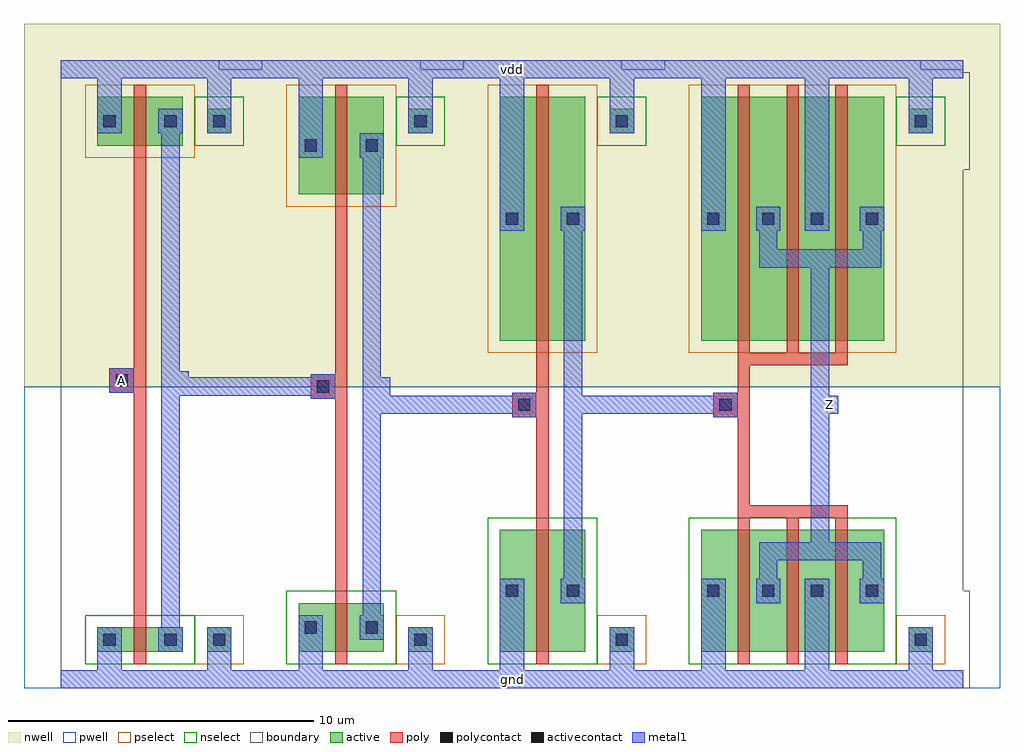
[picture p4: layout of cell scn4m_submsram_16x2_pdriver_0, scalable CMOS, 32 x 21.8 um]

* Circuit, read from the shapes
.subckt scn4m_submsram_16x2_pdriver_0 A Z gnd vdd
M1 scn4m_submsram_16x2_pinv_6_1/A A gnd gnd nfet w=0.8u l=0.4u
M2 scn4m_submsram_16x2_pinv_7_2/A scn4m_submsram_16x2_pinv_6_1/A gnd gnd nfet w=1.6u l=0.4u
M3 scn4m_submsram_16x2_pinv_8_3/A scn4m_submsram_16x2_pinv_7_2/A gnd gnd nfet w=4u l=0.4u
M4 Z scn4m_submsram_16x2_pinv_8_3/A gnd gnd nfet w=4u l=0.4u m=3
M5 scn4m_submsram_16x2_pinv_6_1/A A vdd vdd pfet w=1.6u l=0.4u
M6 scn4m_submsram_16x2_pinv_7_2/A scn4m_submsram_16x2_pinv_6_1/A vdd vdd pfet w=3.2u l=0.4u
M7 scn4m_submsram_16x2_pinv_8_3/A scn4m_submsram_16x2_pinv_7_2/A vdd vdd pfet w=8u l=0.4u
M8 Z scn4m_submsram_16x2_pinv_8_3/A vdd vdd pfet w=8u l=0.4u m=3
.ends

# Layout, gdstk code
import gdstk
lib = gdstk.Library(unit=1e-6, precision=1e-09)
def R(c, l, rs):  # rectangles x0, y0, x1, y1
    for r in rs: c.add(gdstk.rectangle(r[:2], r[2:], *l))
def A(c, l, x, y, w, h, nx, ny, dx, dy):  # array of equal rectangles
    R(c, l, [(x+i*dx, y+j*dy, x+i*dx+w, y+j*dy+h) for i in range(nx) for j in range(ny)])
pwell = (41, 0)
nwell = (42, 0)
active = (43, 0)
pselect = (44, 0)
nselect = (45, 0)
poly = (46, 0)
polycontact = (47, 0)
activecontact = (48, 0)
metal1 = (49, 0)
boundary = (63, 0)

scn4m_submsram_16x2_cont = lib.new_cell('scn4m_submsram_16x2_contact_12')
R(scn4m_submsram_16x2_cont, nwell, [(-1.2,-1.2,2,2)])
R(scn4m_submsram_16x2_cont, active, [(0,0,0.8,0.8)])
R(scn4m_submsram_16x2_cont, pselect, [(-0.4,-0.4,1.2,1.2)])
R(scn4m_submsram_16x2_cont, activecontact, [(0.2,0.2,0.6,0.6)])
R(scn4m_submsram_16x2_cont, metal1, [(0,0,0.8,0.8)])
R(scn4m_submsram_16x2_cont, boundary, [(-1.2,-1.2,2,2)])

scn4m_submsram_16x2_pmos = lib.new_cell('scn4m_submsram_16x2_pmos_m1_w1_600_sm1_dm1_da_p')
R(scn4m_submsram_16x2_pmos, nwell, [(-1.2,-1.2,4,2.8)])
R(scn4m_submsram_16x2_pmos, active, [(0,0,2.8,1.6)])
R(scn4m_submsram_16x2_pmos, pselect, [(-0.4,-0.4,3.2,2)])
R(scn4m_submsram_16x2_pmos, poly, [(1.2,-0.4,1.6,2), (1.2,-0.4,1.6,2)])
R(scn4m_submsram_16x2_pmos, metal1, [(0,0.4,0.8,1.2), (2,0.4,2.8,1.2)])
R(scn4m_submsram_16x2_pmos, boundary, [(-1.2,-1.2,4,2.8)])
scn4m_submsram_16x2_pmos.add(gdstk.Reference(scn4m_submsram_16x2_cont, (0,0.4)))
scn4m_submsram_16x2_pmos.add(gdstk.Reference(scn4m_submsram_16x2_cont, (2,0.4)))
scn4m_submsram_16x2_pmos.add(gdstk.Label('G', (1.4,0.8), layer=46, texttype=0))
scn4m_submsram_16x2_pmos.add(gdstk.Label('S', (0.4,0.8), layer=49, texttype=0))
scn4m_submsram_16x2_pmos.add(gdstk.Label('D', (2.4,0.8), layer=49, texttype=0))

c_scn4m_submsram_16x2_cont = lib.new_cell('scn4m_submsram_16x2_contact_11')
R(c_scn4m_submsram_16x2_cont, pwell, [(-1.2,-1.2,2,2)])
R(c_scn4m_submsram_16x2_cont, active, [(0,0,0.8,0.8)])
R(c_scn4m_submsram_16x2_cont, nselect, [(-0.4,-0.4,1.2,1.2)])
R(c_scn4m_submsram_16x2_cont, activecontact, [(0.2,0.2,0.6,0.6)])
R(c_scn4m_submsram_16x2_cont, metal1, [(0,0,0.8,0.8)])
R(c_scn4m_submsram_16x2_cont, boundary, [(-1.2,-1.2,2,2)])

scn4m_submsram_16x2_nmos = lib.new_cell('scn4m_submsram_16x2_nmos_m1_w0_800_sm1_dm1_da_p')
R(scn4m_submsram_16x2_nmos, pwell, [(-1.2,-1.2,4,2)])
R(scn4m_submsram_16x2_nmos, active, [(0,0,2.8,0.8)])
R(scn4m_submsram_16x2_nmos, nselect, [(-0.4,-0.4,3.2,1.2)])
R(scn4m_submsram_16x2_nmos, poly, [(1.2,-0.4,1.6,1.2), (1.2,-0.4,1.6,1.2)])
R(scn4m_submsram_16x2_nmos, metal1, [(0,0,0.8,0.8), (2,0,2.8,0.8)])
R(scn4m_submsram_16x2_nmos, boundary, [(-1.2,-1.2,4,2)])
scn4m_submsram_16x2_nmos.add(gdstk.Reference(c_scn4m_submsram_16x2_cont, (0,0)))
scn4m_submsram_16x2_nmos.add(gdstk.Reference(c_scn4m_submsram_16x2_cont, (2,0)))
scn4m_submsram_16x2_nmos.add(gdstk.Label('G', (1.4,0.4), layer=46, texttype=0))
scn4m_submsram_16x2_nmos.add(gdstk.Label('S', (0.4,0.4), layer=49, texttype=0))
scn4m_submsram_16x2_nmos.add(gdstk.Label('D', (2.4,0.4), layer=49, texttype=0))

c_scn4m_submsram_16x2_cont_ = lib.new_cell('scn4m_submsram_16x2_contact_13')
R(c_scn4m_submsram_16x2_cont_, nwell, [(-1.2,-1.2,2,2)])
R(c_scn4m_submsram_16x2_cont_, active, [(0,0,0.8,0.8)])
R(c_scn4m_submsram_16x2_cont_, nselect, [(-0.4,-0.4,1.2,1.2)])
R(c_scn4m_submsram_16x2_cont_, activecontact, [(0.2,0.2,0.6,0.6)])
R(c_scn4m_submsram_16x2_cont_, metal1, [(0,0,0.8,0.8)])
R(c_scn4m_submsram_16x2_cont_, boundary, [(-1.2,-1.2,2,2)])

c_scn4m_submsram_16x2_cont__ = lib.new_cell('scn4m_submsram_16x2_contact_14')
R(c_scn4m_submsram_16x2_cont__, pwell, [(-1.2,-1.2,2,2)])
R(c_scn4m_submsram_16x2_cont__, active, [(0,0,0.8,0.8)])
R(c_scn4m_submsram_16x2_cont__, pselect, [(-0.4,-0.4,1.2,1.2)])
R(c_scn4m_submsram_16x2_cont__, activecontact, [(0.2,0.2,0.6,0.6)])
R(c_scn4m_submsram_16x2_cont__, metal1, [(0,0,0.8,0.8)])
R(c_scn4m_submsram_16x2_cont__, boundary, [(-1.2,-1.2,2,2)])

c_scn4m_submsram_16x2_cont___ = lib.new_cell('scn4m_submsram_16x2_contact_15')
R(c_scn4m_submsram_16x2_cont___, poly, [(0,0,0.8,0.8)])
R(c_scn4m_submsram_16x2_cont___, polycontact, [(0.2,0.2,0.6,0.6)])
R(c_scn4m_submsram_16x2_cont___, metal1, [(0,0,0.8,0.8)])
R(c_scn4m_submsram_16x2_cont___, boundary, [(0,0,0.8,0.8)])

scn4m_submsram_16x2_pinv = lib.new_cell('scn4m_submsram_16x2_pinv_5')
R(scn4m_submsram_16x2_pinv, pwell, [(-1.2,-0.3,7.8,9.6)])
R(scn4m_submsram_16x2_pinv, nwell, [(-1.2,9.6,7.8,21.5)])
R(scn4m_submsram_16x2_pinv, poly, [(2.4,2.1,2.8,17.1), (2,9.4,2.4,10.2)])
R(scn4m_submsram_16x2_pinv, metal1, [(0,-0.3,6.6,0.3), (1.2,-0.3,2,0.9), (4.8,0,5.6,1.3), (3.3,0.9,3.9,18.7), (1.6,9.4,2.4,10.2), (3.6,9.5,4.2,10.1), (1.2,17.9,2,20.3), (4.8,18.3,5.6,20), (0,19.7,6.6,20.3)])
R(scn4m_submsram_16x2_pinv, boundary, [(0,0,6.6,20), (0,0,6.6,20)])
scn4m_submsram_16x2_pinv.add(gdstk.Reference(scn4m_submsram_16x2_pmos, (1.2,17.5)))
scn4m_submsram_16x2_pinv.add(gdstk.Reference(scn4m_submsram_16x2_nmos, (1.2,0.9)))
scn4m_submsram_16x2_pinv.add(gdstk.Reference(c_scn4m_submsram_16x2_cont_, (4.8,17.9)))
scn4m_submsram_16x2_pinv.add(gdstk.Reference(c_scn4m_submsram_16x2_cont__, (4.8,0.9)))
scn4m_submsram_16x2_pinv.add(gdstk.Reference(c_scn4m_submsram_16x2_cont___, (1.6,9.4)))
scn4m_submsram_16x2_pinv.add(gdstk.Label('A', (2,9.8), layer=49, texttype=0))
scn4m_submsram_16x2_pinv.add(gdstk.Label('Z', (3.9,9.8), layer=49, texttype=0))
scn4m_submsram_16x2_pinv.add(gdstk.Label('gnd', (3.3,0), layer=49, texttype=0))
scn4m_submsram_16x2_pinv.add(gdstk.Label('vdd', (3.3,20), layer=49, texttype=0))

c_scn4m_submsram_16x2_pmos = lib.new_cell('scn4m_submsram_16x2_pmos_m1_w3_200_sm1_dm1_da_p')
R(c_scn4m_submsram_16x2_pmos, nwell, [(-1.2,-1.2,4,4.4)])
R(c_scn4m_submsram_16x2_pmos, active, [(0,0,2.8,3.2)])
R(c_scn4m_submsram_16x2_pmos, pselect, [(-0.4,-0.4,3.2,3.6)])
R(c_scn4m_submsram_16x2_pmos, poly, [(1.2,-0.4,1.6,3.6), (1.2,-0.4,1.6,3.6)])
R(c_scn4m_submsram_16x2_pmos, metal1, [(0,1.2,0.8,2), (2,1.2,2.8,2)])
R(c_scn4m_submsram_16x2_pmos, boundary, [(-1.2,-1.2,4,4.4)])
c_scn4m_submsram_16x2_pmos.add(gdstk.Reference(scn4m_submsram_16x2_cont, (0,1.2)))
c_scn4m_submsram_16x2_pmos.add(gdstk.Reference(scn4m_submsram_16x2_cont, (2,1.2)))
c_scn4m_submsram_16x2_pmos.add(gdstk.Label('G', (1.4,1.6), layer=46, texttype=0))
c_scn4m_submsram_16x2_pmos.add(gdstk.Label('S', (0.4,1.6), layer=49, texttype=0))
c_scn4m_submsram_16x2_pmos.add(gdstk.Label('D', (2.4,1.6), layer=49, texttype=0))

c_scn4m_submsram_16x2_nmos = lib.new_cell('scn4m_submsram_16x2_nmos_m1_w1_600_sm1_dm1_da_p')
R(c_scn4m_submsram_16x2_nmos, pwell, [(-1.2,-1.2,4,2.8)])
R(c_scn4m_submsram_16x2_nmos, active, [(0,0,2.8,1.6)])
R(c_scn4m_submsram_16x2_nmos, nselect, [(-0.4,-0.4,3.2,2)])
R(c_scn4m_submsram_16x2_nmos, poly, [(1.2,-0.4,1.6,2), (1.2,-0.4,1.6,2)])
R(c_scn4m_submsram_16x2_nmos, metal1, [(0,0.4,0.8,1.2), (2,0.4,2.8,1.2)])
R(c_scn4m_submsram_16x2_nmos, boundary, [(-1.2,-1.2,4,2.8)])
c_scn4m_submsram_16x2_nmos.add(gdstk.Reference(c_scn4m_submsram_16x2_cont, (0,0.4)))
c_scn4m_submsram_16x2_nmos.add(gdstk.Reference(c_scn4m_submsram_16x2_cont, (2,0.4)))
c_scn4m_submsram_16x2_nmos.add(gdstk.Label('G', (1.4,0.8), layer=46, texttype=0))
c_scn4m_submsram_16x2_nmos.add(gdstk.Label('S', (0.4,0.8), layer=49, texttype=0))
c_scn4m_submsram_16x2_nmos.add(gdstk.Label('D', (2.4,0.8), layer=49, texttype=0))

c_scn4m_submsram_16x2_pinv = lib.new_cell('scn4m_submsram_16x2_pinv_6')
R(c_scn4m_submsram_16x2_pinv, pwell, [(-1.2,-0.3,7.8,9.6)])
R(c_scn4m_submsram_16x2_pinv, nwell, [(-1.2,9.6,7.8,21.5)])
R(c_scn4m_submsram_16x2_pinv, poly, [(2.4,2.9,2.8,15.5), (2,9.2,2.4,10)])
R(c_scn4m_submsram_16x2_pinv, metal1, [(0,-0.3,6.6,0.3), (1.2,-0.3,2,1.3), (4.8,0,5.6,1.3), (3.3,1.3,3.9,17.9), (1.6,9.2,2.4,10), (3.6,9.3,4.2,9.9), (1.2,17.1,2,20.3), (4.8,18.3,5.6,20), (0,19.7,6.6,20.3)])
R(c_scn4m_submsram_16x2_pinv, boundary, [(0,0,6.6,20), (0,0,6.6,20)])
c_scn4m_submsram_16x2_pinv.add(gdstk.Reference(c_scn4m_submsram_16x2_pmos, (1.2,15.9)))
c_scn4m_submsram_16x2_pinv.add(gdstk.Reference(c_scn4m_submsram_16x2_nmos, (1.2,0.9)))
c_scn4m_submsram_16x2_pinv.add(gdstk.Reference(c_scn4m_submsram_16x2_cont_, (4.8,17.9)))
c_scn4m_submsram_16x2_pinv.add(gdstk.Reference(c_scn4m_submsram_16x2_cont__, (4.8,0.9)))
c_scn4m_submsram_16x2_pinv.add(gdstk.Reference(c_scn4m_submsram_16x2_cont___, (1.6,9.2)))
c_scn4m_submsram_16x2_pinv.add(gdstk.Label('A', (2,9.6), layer=49, texttype=0))
c_scn4m_submsram_16x2_pinv.add(gdstk.Label('Z', (3.9,9.6), layer=49, texttype=0))
c_scn4m_submsram_16x2_pinv.add(gdstk.Label('gnd', (3.3,0), layer=49, texttype=0))
c_scn4m_submsram_16x2_pinv.add(gdstk.Label('vdd', (3.3,20), layer=49, texttype=0))

c_scn4m_submsram_16x2_pmos_ = lib.new_cell('scn4m_submsram_16x2_pmos_m1_w8_000_sm1_dm1_da_p')
R(c_scn4m_submsram_16x2_pmos_, nwell, [(-1.2,-1.2,4,9.2)])
R(c_scn4m_submsram_16x2_pmos_, active, [(0,0,2.8,8)])
R(c_scn4m_submsram_16x2_pmos_, pselect, [(-0.4,-0.4,3.2,8.4)])
R(c_scn4m_submsram_16x2_pmos_, poly, [(1.2,-0.4,1.6,8.4), (1.2,-0.4,1.6,8.4)])
R(c_scn4m_submsram_16x2_pmos_, metal1, [(0,3.6,0.8,4.4), (2,3.6,2.8,4.4)])
R(c_scn4m_submsram_16x2_pmos_, boundary, [(-1.2,-1.2,4,9.2)])
c_scn4m_submsram_16x2_pmos_.add(gdstk.Reference(scn4m_submsram_16x2_cont, (0,3.6)))
c_scn4m_submsram_16x2_pmos_.add(gdstk.Reference(scn4m_submsram_16x2_cont, (2,3.6)))
c_scn4m_submsram_16x2_pmos_.add(gdstk.Label('G', (1.4,4), layer=46, texttype=0))
c_scn4m_submsram_16x2_pmos_.add(gdstk.Label('S', (0.4,4), layer=49, texttype=0))
c_scn4m_submsram_16x2_pmos_.add(gdstk.Label('D', (2.4,4), layer=49, texttype=0))

c_scn4m_submsram_16x2_nmos_ = lib.new_cell('scn4m_submsram_16x2_nmos_m1_w4_000_sm1_dm1_da_p')
R(c_scn4m_submsram_16x2_nmos_, pwell, [(-1.2,-1.2,4,5.2)])
R(c_scn4m_submsram_16x2_nmos_, active, [(0,0,2.8,4)])
R(c_scn4m_submsram_16x2_nmos_, nselect, [(-0.4,-0.4,3.2,4.4)])
R(c_scn4m_submsram_16x2_nmos_, poly, [(1.2,-0.4,1.6,4.4), (1.2,-0.4,1.6,4.4)])
R(c_scn4m_submsram_16x2_nmos_, metal1, [(0,1.6,0.8,2.4), (2,1.6,2.8,2.4)])
R(c_scn4m_submsram_16x2_nmos_, boundary, [(-1.2,-1.2,4,5.2)])
c_scn4m_submsram_16x2_nmos_.add(gdstk.Reference(c_scn4m_submsram_16x2_cont, (0,1.6)))
c_scn4m_submsram_16x2_nmos_.add(gdstk.Reference(c_scn4m_submsram_16x2_cont, (2,1.6)))
c_scn4m_submsram_16x2_nmos_.add(gdstk.Label('G', (1.4,2), layer=46, texttype=0))
c_scn4m_submsram_16x2_nmos_.add(gdstk.Label('S', (0.4,2), layer=49, texttype=0))
c_scn4m_submsram_16x2_nmos_.add(gdstk.Label('D', (2.4,2), layer=49, texttype=0))

c_scn4m_submsram_16x2_pinv_ = lib.new_cell('scn4m_submsram_16x2_pinv_7')
R(c_scn4m_submsram_16x2_pinv_, pwell, [(-1.2,-0.3,7.8,9.6)])
R(c_scn4m_submsram_16x2_pinv_, nwell, [(-1.2,9.6,7.8,21.5)])
R(c_scn4m_submsram_16x2_pinv_, poly, [(2.4,5.3,2.8,10.7), (2,8.6,2.4,9.4)])
R(c_scn4m_submsram_16x2_pinv_, metal1, [(0,-0.3,6.6,0.3), (1.2,-0.3,2,2.5), (4.8,0,5.6,1.3), (3.3,2.5,3.9,15.5), (1.6,8.6,2.4,9.4), (3.6,8.7,4.2,9.3), (1.2,14.7,2,20.3), (4.8,18.3,5.6,20), (0,19.7,6.6,20.3)])
R(c_scn4m_submsram_16x2_pinv_, boundary, [(0,0,6.6,20), (0,0,6.6,20)])
c_scn4m_submsram_16x2_pinv_.add(gdstk.Reference(c_scn4m_submsram_16x2_pmos_, (1.2,11.1)))
c_scn4m_submsram_16x2_pinv_.add(gdstk.Reference(c_scn4m_submsram_16x2_nmos_, (1.2,0.9)))
c_scn4m_submsram_16x2_pinv_.add(gdstk.Reference(c_scn4m_submsram_16x2_cont_, (4.8,17.9)))
c_scn4m_submsram_16x2_pinv_.add(gdstk.Reference(c_scn4m_submsram_16x2_cont__, (4.8,0.9)))
c_scn4m_submsram_16x2_pinv_.add(gdstk.Reference(c_scn4m_submsram_16x2_cont___, (1.6,8.6)))
c_scn4m_submsram_16x2_pinv_.add(gdstk.Label('A', (2,9), layer=49, texttype=0))
c_scn4m_submsram_16x2_pinv_.add(gdstk.Label('Z', (3.9,9), layer=49, texttype=0))
c_scn4m_submsram_16x2_pinv_.add(gdstk.Label('gnd', (3.3,0), layer=49, texttype=0))
c_scn4m_submsram_16x2_pinv_.add(gdstk.Label('vdd', (3.3,20), layer=49, texttype=0))

c_scn4m_submsram_16x2_pmos__ = lib.new_cell('scn4m_submsram_16x2_pmos_m3_w8_000_sm1_dm1_da_p')
R(c_scn4m_submsram_16x2_pmos__, nwell, [(-1.2,-1.2,7.2,9.2)])
R(c_scn4m_submsram_16x2_pmos__, active, [(0,0,6,8)])
R(c_scn4m_submsram_16x2_pmos__, pselect, [(-0.4,-0.4,6.4,8.4)])
A(c_scn4m_submsram_16x2_pmos__, poly, 1.2, -0.4, 0.4, 8.8, 3, 1, 1.6, 0)
R(c_scn4m_submsram_16x2_pmos__, poly, [(1.2,-0.8,4.8,-0.4)])
R(c_scn4m_submsram_16x2_pmos__, metal1, [(1.9,2.4,5.9,3), (1.9,2.7,2.5,4), (5.3,2.7,5.9,4), (0,3.6,0.8,4.4), (3.4,3.6,4.2,4.4)])
R(c_scn4m_submsram_16x2_pmos__, boundary, [(-1.2,-1.2,7.2,9.2)])
c_scn4m_submsram_16x2_pmos__.add(gdstk.Reference(scn4m_submsram_16x2_cont, (0,3.6)))
c_scn4m_submsram_16x2_pmos__.add(gdstk.Reference(scn4m_submsram_16x2_cont, (1.8,3.6)))
c_scn4m_submsram_16x2_pmos__.add(gdstk.Reference(scn4m_submsram_16x2_cont, (3.4,3.6)))
c_scn4m_submsram_16x2_pmos__.add(gdstk.Reference(scn4m_submsram_16x2_cont, (5.2,3.6)))
c_scn4m_submsram_16x2_pmos__.add(gdstk.Label('G', (3,-0.6), layer=46, texttype=0))
c_scn4m_submsram_16x2_pmos__.add(gdstk.Label('S', (3.8,4), layer=49, texttype=0))
c_scn4m_submsram_16x2_pmos__.add(gdstk.Label('S', (0.4,4), layer=49, texttype=0))
c_scn4m_submsram_16x2_pmos__.add(gdstk.Label('D', (3.9,2.7), layer=49, texttype=0))

c_scn4m_submsram_16x2_nmos__ = lib.new_cell('scn4m_submsram_16x2_nmos_m3_w4_000_sm1_dm1_da_p')
R(c_scn4m_submsram_16x2_nmos__, pwell, [(-1.2,-1.2,7.2,5.2)])
R(c_scn4m_submsram_16x2_nmos__, active, [(0,0,6,4)])
R(c_scn4m_submsram_16x2_nmos__, nselect, [(-0.4,-0.4,6.4,4.4)])
A(c_scn4m_submsram_16x2_nmos__, poly, 1.2, -0.4, 0.4, 4.8, 3, 1, 1.6, 0)
R(c_scn4m_submsram_16x2_nmos__, poly, [(1.2,4.4,4.8,4.8)])
R(c_scn4m_submsram_16x2_nmos__, metal1, [(0,1.6,0.8,2.4), (3.4,1.6,4.2,2.4), (1.9,2,2.5,3.3), (5.3,2,5.9,3.3), (1.9,3,5.9,3.6)])
R(c_scn4m_submsram_16x2_nmos__, boundary, [(-1.2,-1.2,7.2,5.2)])
c_scn4m_submsram_16x2_nmos__.add(gdstk.Reference(c_scn4m_submsram_16x2_cont, (0,1.6)))
c_scn4m_submsram_16x2_nmos__.add(gdstk.Reference(c_scn4m_submsram_16x2_cont, (1.8,1.6)))
c_scn4m_submsram_16x2_nmos__.add(gdstk.Reference(c_scn4m_submsram_16x2_cont, (3.4,1.6)))
c_scn4m_submsram_16x2_nmos__.add(gdstk.Reference(c_scn4m_submsram_16x2_cont, (5.2,1.6)))
c_scn4m_submsram_16x2_nmos__.add(gdstk.Label('G', (3,4.6), layer=46, texttype=0))
c_scn4m_submsram_16x2_nmos__.add(gdstk.Label('S', (0.4,2), layer=49, texttype=0))
c_scn4m_submsram_16x2_nmos__.add(gdstk.Label('S', (3.8,2), layer=49, texttype=0))
c_scn4m_submsram_16x2_nmos__.add(gdstk.Label('D', (3.9,3.3), layer=49, texttype=0))

c_scn4m_submsram_16x2_pinv__ = lib.new_cell('scn4m_submsram_16x2_pinv_8')
R(c_scn4m_submsram_16x2_pinv__, pwell, [(-1.2,-0.3,11,9.6)])
R(c_scn4m_submsram_16x2_pinv__, nwell, [(-1.2,9.6,11,21.5)])
R(c_scn4m_submsram_16x2_pinv__, poly, [(2.4,5.7,2.8,10.3), (2,8.6,2.4,9.4)])
R(c_scn4m_submsram_16x2_pinv__, metal1, [(0,-0.3,9.8,0.3), (1.2,-0.3,2,2.5), (4.6,-0.3,5.4,2.5), (8,0,8.8,1.3), (4.8,3.9,5.4,14.1), (1.6,8.6,2.4,9.4), (5.1,8.7,5.7,9.3), (1.2,14.7,2,20.3), (4.6,14.7,5.4,20.3), (8,18.3,8.8,20), (0,19.7,9.8,20.3)])
R(c_scn4m_submsram_16x2_pinv__, boundary, [(0,0,9.8,20), (0,0,9.8,20)])
c_scn4m_submsram_16x2_pinv__.add(gdstk.Reference(c_scn4m_submsram_16x2_pmos__, (1.2,11.1)))
c_scn4m_submsram_16x2_pinv__.add(gdstk.Reference(c_scn4m_submsram_16x2_nmos__, (1.2,0.9)))
c_scn4m_submsram_16x2_pinv__.add(gdstk.Reference(c_scn4m_submsram_16x2_cont_, (8,17.9)))
c_scn4m_submsram_16x2_pinv__.add(gdstk.Reference(c_scn4m_submsram_16x2_cont__, (8,0.9)))
c_scn4m_submsram_16x2_pinv__.add(gdstk.Reference(c_scn4m_submsram_16x2_cont___, (1.6,8.6)))
c_scn4m_submsram_16x2_pinv__.add(gdstk.Label('A', (2,9), layer=49, texttype=0))
c_scn4m_submsram_16x2_pinv__.add(gdstk.Label('Z', (5.4,9), layer=49, texttype=0))
c_scn4m_submsram_16x2_pinv__.add(gdstk.Label('gnd', (4.9,0), layer=49, texttype=0))
c_scn4m_submsram_16x2_pinv__.add(gdstk.Label('vdd', (4.9,20), layer=49, texttype=0))

scn4m_submsram_16x2_pdri = lib.new_cell('scn4m_submsram_16x2_pdriver_0')
R(scn4m_submsram_16x2_pdri, pwell, [(-1.2,-0.3,30.8,9.6)])
R(scn4m_submsram_16x2_pdri, nwell, [(-1.2,9.6,30.8,21.5)])
R(scn4m_submsram_16x2_pdri, metal1, [(0,-0.3,29.6,0.3), (10.2,8.7,10.8,9.3), (10.5,8.7,15.2,9.3), (17.1,8.7,21.8,9.3), (24.9,8.7,25.5,9.3), (10.2,9,10.8,9.6), (3.6,9.3,4.2,9.9), (3.9,9.3,8.6,9.9), (1.6,9.4,2.4,10.2), (3.6,9.6,4.2,9.8), (0,19.7,29.6,20.3)])
R(scn4m_submsram_16x2_pdri, boundary, [(0,0,29.6,20), (0,0,29.6,20)])
scn4m_submsram_16x2_pdri.add(gdstk.Reference(scn4m_submsram_16x2_pinv, (0,0)))
scn4m_submsram_16x2_pdri.add(gdstk.Reference(c_scn4m_submsram_16x2_pinv, (6.6,0)))
scn4m_submsram_16x2_pdri.add(gdstk.Reference(c_scn4m_submsram_16x2_pinv_, (13.2,0)))
scn4m_submsram_16x2_pdri.add(gdstk.Reference(c_scn4m_submsram_16x2_pinv__, (19.8,0)))
scn4m_submsram_16x2_pdri.add(gdstk.Label('Z', (25.2,9), layer=49, texttype=0))
scn4m_submsram_16x2_pdri.add(gdstk.Label('A', (2,9.8), layer=49, texttype=0))
scn4m_submsram_16x2_pdri.add(gdstk.Label('gnd', (14.8,0), layer=49, texttype=0))
scn4m_submsram_16x2_pdri.add(gdstk.Label('vdd', (14.8,20), layer=49, texttype=0))

lib.write_gds('scn4m_submsram_16x2_pdriver_0.gds')
